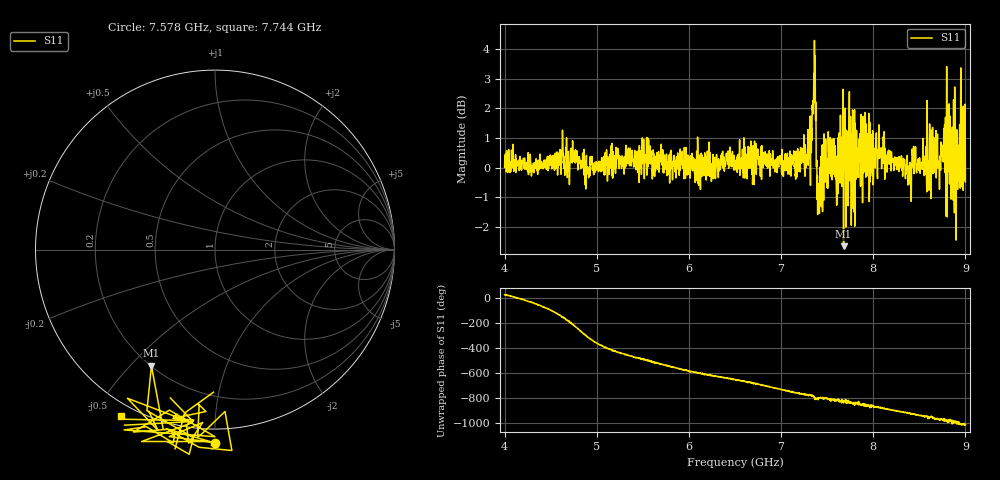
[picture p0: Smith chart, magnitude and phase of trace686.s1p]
! Created with skrf 1.8.0 (http://scikit-rf.org).
# Hz S RI R 50.0
!freq ReS11 ImS11
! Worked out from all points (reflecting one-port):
!   1601 points, 4 GHz to 9 GHz, reference 50 ohm
!   lowest |S11| = -2.6 dB at 7.678 GHz (marker M1), VSWR 6.63, Z = 10.1 - j28.7 ohm
!   phase of S11 starts at 27 deg and turns -1037 deg over the sweep
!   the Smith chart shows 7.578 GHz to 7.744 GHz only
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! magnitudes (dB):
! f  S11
! 4 GHz  0.0
! 4.625 GHz  0.7
! 4.897 GHz  -0.1
! 5.25 GHz  0.4
! 5.875 GHz  0.0
! 6.5 GHz  0.2
! 7.125 GHz  0.2
! 7.294 GHz  0.1
! 7.353 GHz  2.6
! 7.369 GHz  3.8
! 7.397 GHz  -1.6
! 7.412 GHz  -1.3
! 7.534 GHz  1.0
! 7.616 GHz  -0.9
! 7.647 GHz  0.3
! 7.678 GHz  -2.6
! 7.75 GHz  -0.4
! 7.788 GHz  -0.7
! 7.928 GHz  0.5
! 7.981 GHz  0.0
! 8.088 GHz  0.5
! 8.375 GHz  0.1
! 8.675 GHz  0.0
! 8.728 GHz  0.2
! 8.822 GHz  2.1
! 8.875 GHz  0.0
! 8.972 GHz  0.7
! 9 GHz  -0.5
